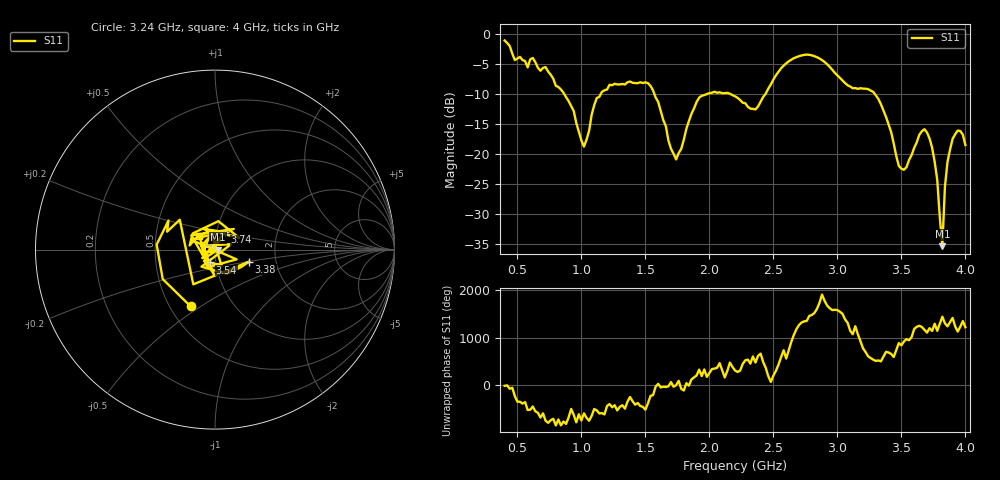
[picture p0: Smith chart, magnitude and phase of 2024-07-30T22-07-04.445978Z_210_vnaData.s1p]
!Created with skrf (http://scikit-rf.org).
# Hz S RI R 50.0
!freq ReS11 ImS11
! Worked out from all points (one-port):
!   181 points, 400 MHz to 4 GHz, reference 50 ohm
!   lowest |S11| = -35.4 dB at 3.82 GHz (marker M1), VSWR 1.03, Z = 51.7 + j0.053 ohm
!   |S11| at or under -10 dB: 1.569 GHz to 1.992 GHz (423 MHz wide, 23.8 % of centre); 2.155 GHz to 2.441 GHz (285.3 MHz wide, 12.4 % of centre); 3.29 GHz to end of sweep (the widest 3 of 4)
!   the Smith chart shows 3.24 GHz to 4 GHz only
!   S11 on the Smith chart (normalised r, x): 3.24 GHz: 0.63, -0.45; 3.38 GHz: 1.45, -0.20; 3.54 GHz: 0.94, -0.13; 3.74 GHz: 1.09, +0.22; 4 GHz: 0.83, +0.13
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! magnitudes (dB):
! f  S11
! 400 MHz  -1.2
! 480 MHz  -4.4
! 860 MHz  -9.9
! 1.02 GHz  -18.9
! 1.12 GHz  -10.8
! 1.3 GHz  -8.5
! 1.54 GHz  -8.7
! 1.7 GHz  -19.2
! 1.76 GHz  -19.9
! 1.92 GHz  -10.7
! 2.2 GHz  -10.5
! 2.36 GHz  -12.7
! 2.66 GHz  -4.1
! 2.86 GHz  -4.2
! 3.1 GHz  -8.8
! 3.24 GHz  -9.3
! 3.38 GHz  -13.9
! 3.48 GHz  -22.1
! 3.54 GHz  -22.3
! 3.56 GHz  -21.1
! 3.68 GHz  -15.9
! 3.74 GHz  -19.0
! 3.78 GHz  -24.4
! 3.82 GHz  -35.4
! 3.84 GHz  -25.6
! 3.88 GHz  -19.3
! 3.94 GHz  -16.2
! 4 GHz  -18.6
